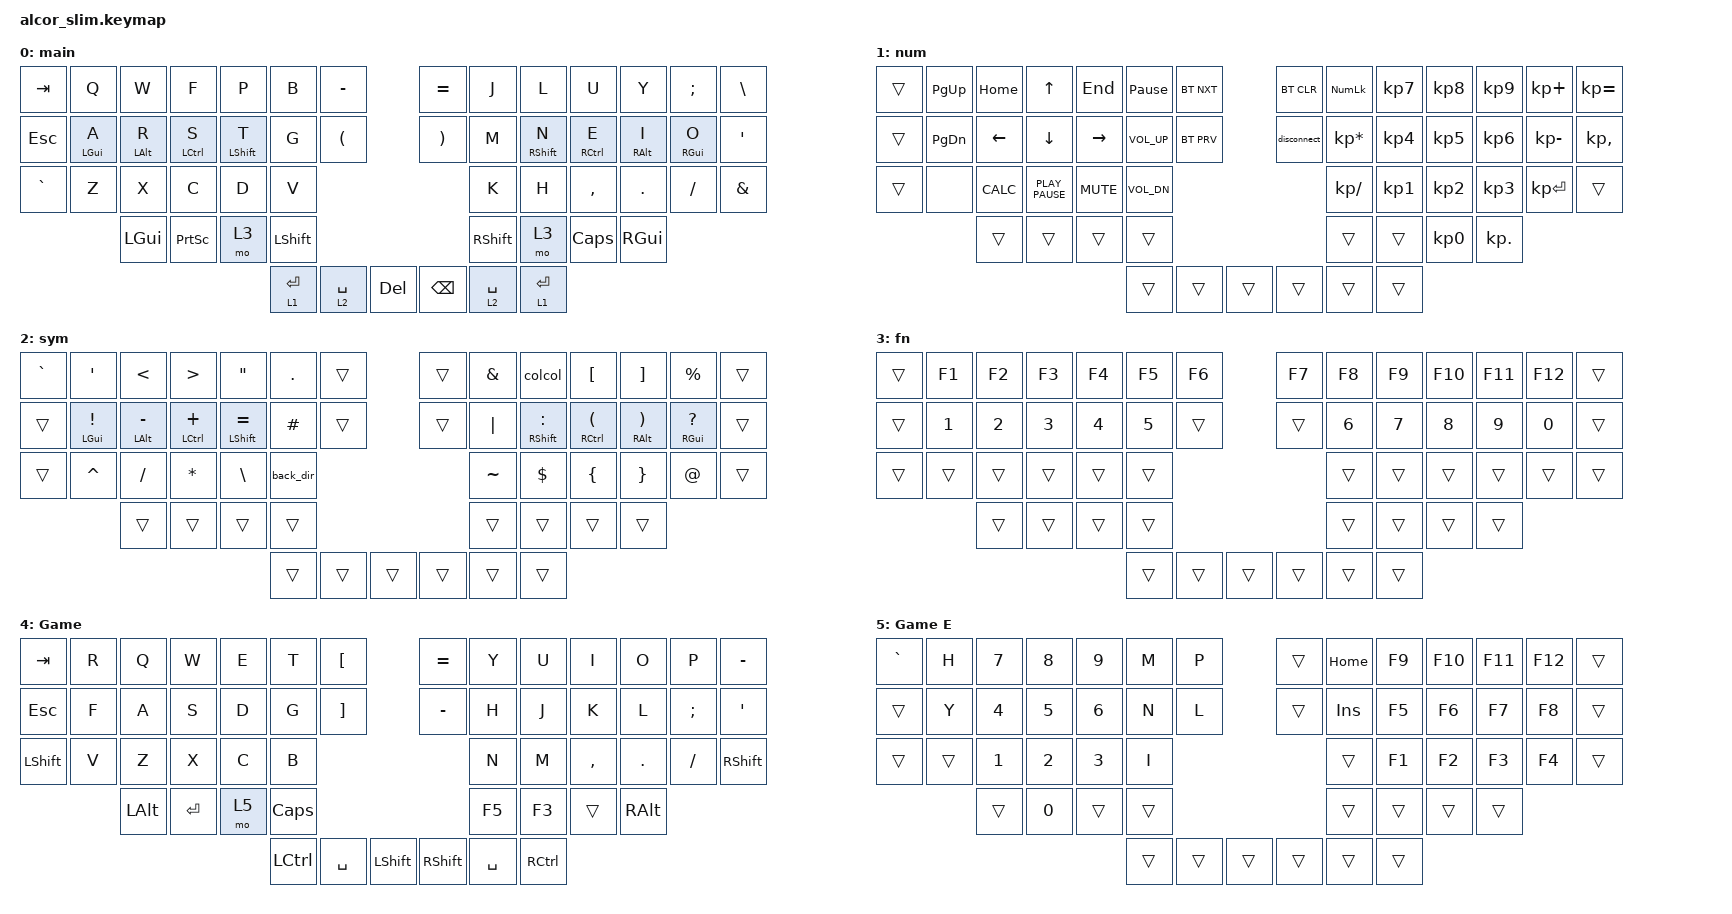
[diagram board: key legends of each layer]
#include <behaviors.dtsi>
#include <dt-bindings/zmk/bt.h>
#include <dt-bindings/zmk/keys.h>

/ {
    combos {
        compatible = "zmk,combos";

        tog_sym {
            bindings = <&tog 2>;
            key-positions = <49 52>;
        };

        tog_num {
            bindings = <&tog 1>;
            key-positions = <48 53>;
        };

        game {
            bindings = <&tog 4>;
            key-positions = <0 13>;
        };
    };

    macros {
        colcol: colcol {
            compatible = "zmk,behavior-macro";
            #binding-cells = <0>;
            bindings = <&kp COLON &kp COLON>;
            label = "COLCOL";
        };

        back_dir: back_dir {
            compatible = "zmk,behavior-macro";
            #binding-cells = <0>;
            bindings = <&kp DOT &kp DOT &kp FSLH>;
            label = "BACK_DIR";
        };

        disconnect: disconnect {
            compatible = "zmk,behavior-macro";
            #binding-cells = <0>;
            bindings = <&bt BT_DISC 0 &bt BT_DISC 1 &bt BT_DISC 2 &bt BT_DISC 3 &bt BT_DISC 4>;
            label = "DISCONNECT";
        };
    };

    behaviors {
        hr_mod_l: hr_mod_l {
            compatible = "zmk,behavior-hold-tap";
            label = "HR_MOD_L";
            bindings = <&kp>, <&kp>;

            #binding-cells = <2>;
            flavor = "balanced";
            require-prior-idle-ms = <210>;
            quick-tap-ms = <175>;
            tapping-term-ms = <280>;
            hold-trigger-on-release;
            hold-trigger-key-positions = <39 27 13 12 26 38 47 37 25 11 10 46 36 24 35 23 9 8 22 34 21 7 53 52 51 44 45>;
        };

        hr_mod_r: hr_mod_r {
            compatible = "zmk,behavior-hold-tap";
            label = "HR_MOD_R";
            bindings = <&kp>, <&kp>;

            #binding-cells = <2>;
            flavor = "balanced";
            require-prior-idle-ms = <210>;
            quick-tap-ms = <175>;
            tapping-term-ms = <280>;
            hold-trigger-on-release;
            hold-trigger-key-positions = <0 28 14 29 15 1 2 16 40 30 41 31 17 3 4 18 32 33 19 5 6 20 48 49 42 43 50>;
        };
    };

    keymap {
        compatible = "zmk,keymap";

        default_layer {
            bindings = <
&kp TAB    &kp Q                 &kp W                 &kp F              &kp P                   &kp B        &kp MINUS                                         &kp EQUAL              &kp J        &kp L              &kp U              &kp Y                  &kp SEMI               &kp BSLH
&kp ESC    &hr_mod_l LEFT_GUI A  &hr_mod_l LEFT_ALT R  &hr_mod_l LCTRL S  &hr_mod_l LEFT_SHIFT T  &kp G        &kp LEFT_PARENTHESIS                              &kp RIGHT_PARENTHESIS  &kp M        &hr_mod_r RSHFT N  &hr_mod_r RCTRL E  &hr_mod_r RIGHT_ALT I  &hr_mod_r RIGHT_GUI O  &kp SQT
&kp GRAVE  &kp Z                 &kp X                 &kp C              &kp D                   &kp V                                                                                 &kp K        &kp H              &kp COMMA          &kp DOT                &kp FSLH               &kp AMPERSAND
                                 &kp LGUI              &kp PRINTSCREEN                                         &mo 3                 &kp LSHFT    &kp RSHFT      &mo 3                                                  &kp CAPS           &kp RGUI
                                                                                                  &lt 1 ENTER  &lt 2 SPACE           &kp DEL      &kp BACKSPACE  &lt 2 SPACE            &lt 1 ENTER
            >;

            label = "main";
        };

        numpad {
            bindings = <
&trans  &kp PG_UP  &kp HOME    &kp UP            &kp END     &kp PAUSE_BREAK  &bt BT_NXT                    &bt BT_CLR   &kp KP_NUMLOCK   &kp KP_N7  &kp KP_N8        &kp KP_N9   &kp KP_PLUS   &kp KP_EQUAL
&trans  &kp PG_DN  &kp LEFT    &kp DOWN          &kp RIGHT   &kp C_VOL_UP     &bt BT_PRV                    &disconnect  &kp KP_ASTERISK  &kp KP_N4  &kp KP_N5        &kp KP_N6   &kp KP_MINUS  &kp KP_COMMA
&trans  &none      &kp K_CALC  &kp K_PLAY_PAUSE  &kp K_MUTE  &kp C_VOL_DN                                                &kp KP_SLASH     &kp KP_N1  &kp KP_N2        &kp KP_N3   &kp KP_ENTER  &trans
                   &trans      &trans                                         &trans      &trans    &trans  &trans                                   &kp KP_NUMBER_0  &kp KP_DOT
                                                             &trans           &trans      &trans    &trans  &trans       &trans
            >;

            label = "num";
        };

        symbol {
            bindings = <
&kp GRAVE  &kp SINGLE_QUOTE     &kp LESS_THAN             &kp GREATER_THAN      &kp DOUBLE_QUOTES      &kp DOT    &trans                    &trans  &kp AMPERSAND  &colcol                &kp LEFT_BRACKET                  &kp RIGHT_BRACKET                 &kp PERCENT              &trans
&trans     &hr_mod_l LGUI EXCL  &hr_mod_l LEFT_ALT MINUS  &hr_mod_l LCTRL PLUS  &hr_mod_l LSHFT EQUAL  &kp HASH   &trans                    &trans  &kp PIPE       &hr_mod_r RSHFT COLON  &hr_mod_r RCTRL LEFT_PARENTHESIS  &hr_mod_r RALT RIGHT_PARENTHESIS  &hr_mod_r RGUI QUESTION  &trans
&trans     &kp CARET            &kp SLASH                 &kp ASTRK             &kp BACKSLASH          &back_dir                                    &kp TILDE      &kp DOLLAR             &kp LEFT_BRACE                    &kp RIGHT_BRACE                   &kp AT                   &trans
                                &trans                    &trans                                                  &trans  &trans    &trans  &trans                                        &trans                            &trans
                                                                                                       &trans     &trans  &trans    &trans  &trans  &trans
            >;

            label = "sym";
        };

        fn {
            bindings = <
&trans  &kp F1  &kp F2  &kp F3  &kp F4  &kp F5  &kp F6                    &kp F7  &kp F8  &kp F9  &kp F10  &kp F11  &kp F12  &trans
&trans  &kp N1  &kp N2  &kp N3  &kp N4  &kp N5  &trans                    &trans  &kp N6  &kp N7  &kp N8   &kp N9   &kp N0   &trans
&trans  &trans  &trans  &trans  &trans  &trans                                    &trans  &trans  &trans   &trans   &trans   &trans
                &trans  &trans                  &trans  &trans    &trans  &trans                  &trans   &trans
                                        &trans  &trans  &trans    &trans  &trans  &trans
            >;

            label = "fn";
        };

        gaming {
            bindings = <
&kp TAB    &kp R  &kp Q     &kp W      &kp E  &kp T      &kp LBKT                           &kp EQUAL  &kp Y      &kp U  &kp I      &kp O     &kp P     &kp MINUS
&kp ESC    &kp F  &kp A     &kp S      &kp D  &kp G      &kp RBKT                           &kp MINUS  &kp H      &kp J  &kp K      &kp L     &kp SEMI  &kp APOS
&kp LSHFT  &kp V  &kp Z     &kp X      &kp C  &kp B                                                    &kp N      &kp M  &kp COMMA  &kp DOT   &kp FSLH  &kp RSHFT
                  &kp LALT  &kp ENTER                    &mo 5      &kp CAPS     &kp F5     &kp F3                       &trans     &kp RALT
                                              &kp LCTRL  &kp SPACE  &kp LSHFT    &kp RSHFT  &kp SPACE  &kp RCTRL
            >;

            label = "Game";
        };

        game_two {
            bindings = <
&kp GRAVE  &kp H   &kp N7  &kp N8  &kp N9  &kp M   &kp P                     &trans  &kp HOME    &kp F9  &kp F10  &kp F11  &kp F12  &trans
&trans     &kp Y   &kp N4  &kp N5  &kp N6  &kp N   &kp L                     &trans  &kp INSERT  &kp F5  &kp F6   &kp F7   &kp F8   &trans
&trans     &trans  &kp N1  &kp N2  &kp N3  &kp I                                     &trans      &kp F1  &kp F2   &kp F3   &kp F4   &trans
                   &trans  &kp N0                  &trans  &trans    &trans  &trans                      &trans   &trans
                                           &trans  &trans  &trans    &trans  &trans  &trans
            >;

            label = "Game E";
        };
    };
};
